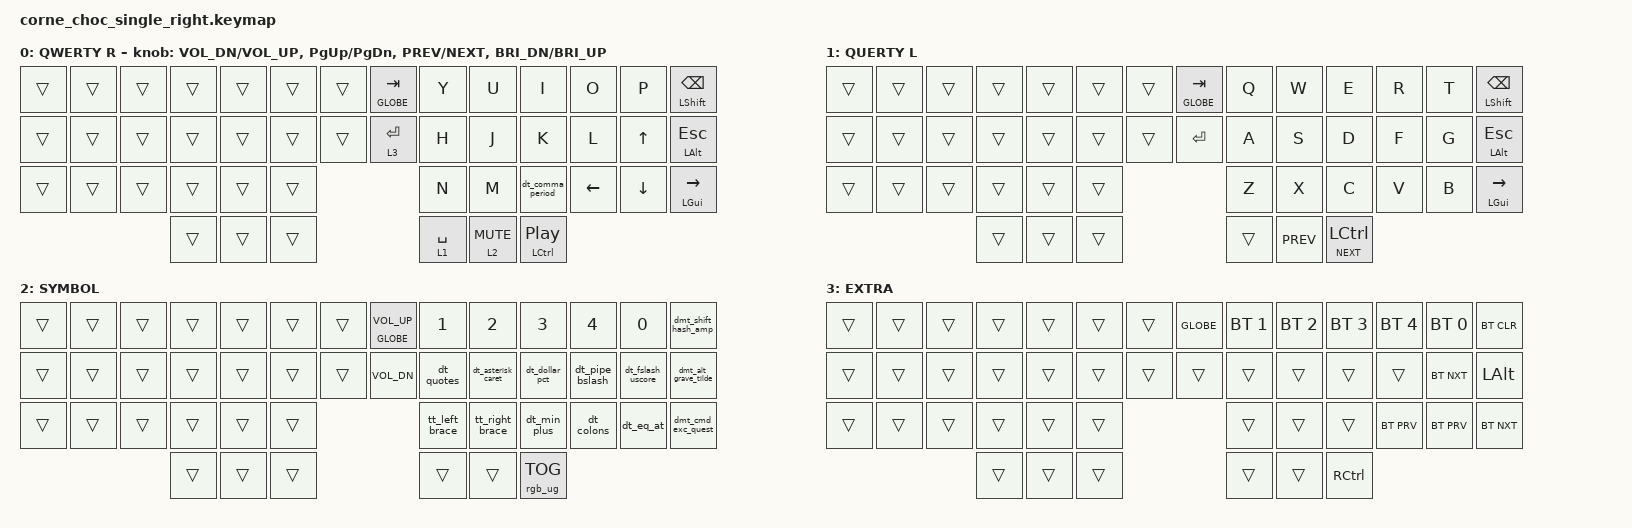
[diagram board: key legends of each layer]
/*
 * Copyright (c) 2020 The ZMK Contributors
 *
 * SPDX-License-Identifier: MIT
 */

#include <behaviors.dtsi>
#include <dt-bindings/zmk/bt.h>
#include <dt-bindings/zmk/keys.h>
#include <dt-bindings/zmk/rgb.h>

&mt { tapping-term-ms = <120>; };

&lt { tapping-term-ms = <120>; };

/ {
    chosen { zmk,physical-layout = &default_layout; };
};

/ {
    behaviors {
        dt_comma_period: dt_comma_period {
            compatible = "zmk,behavior-tap-dance";
            label = "DT_COMMA_PERIOD";
            #binding-cells = <0>;
            bindings = <&kp COMMA>, <&kp PERIOD>;
        };

        dmt_alt_excl_quest: dmt_alt_excl_quest {
            compatible = "zmk,behavior-tap-dance";
            label = "DMT_ALT_EXCL_QUEST";
            #binding-cells = <0>;
            bindings = <&mt LEFT_ALT EXCLAMATION>, <&kp QUESTION>;
        };

        dmt_alt_grave_tilde: dmt_alt_grave_tilde {
            compatible = "zmk,behavior-tap-dance";
            label = "DMT_ALT_GRAVE_TILDE";
            #binding-cells = <0>;
            bindings = <&mt LEFT_ALT GRAVE>, <&kp TILDE>;
        };

        dt_quotes: dt_quotes {
            compatible = "zmk,behavior-tap-dance";
            label = "DT_QUOTES";
            #binding-cells = <0>;
            bindings = <&kp SINGLE_QUOTE>, <&kp DOUBLE_QUOTES>;
        };

        dt_asterisk_caret: dt_asterisk_caret {
            compatible = "zmk,behavior-tap-dance";
            label = "DT_ASTERISK_CARET";
            #binding-cells = <0>;
            bindings = <&kp ASTERISK>, <&kp CARET>;
        };

        dt_lt_gt: dt_lt_gt {
            compatible = "zmk,behavior-tap-dance";
            label = "DT_LT_GT";
            #binding-cells = <0>;
            bindings = <&kp LT>, <&kp GREATER_THAN>;
        };

        dt_pipe_bslash: dt_pipe_bslash {
            compatible = "zmk,behavior-tap-dance";
            label = "DT_PIPE_BSLASH";
            #binding-cells = <0>;
            bindings = <&kp PIPE>, <&kp BACKSLASH>;
        };

        dt_fslash_uscore: dt_fslash_uscore {
            compatible = "zmk,behavior-tap-dance";
            label = "DT_FSLASH_USCORE";
            #binding-cells = <0>;
            bindings = <&kp SLASH>, <&kp UNDERSCORE>;
        };

        dt_min_plus: dt_min_plus {
            compatible = "zmk,behavior-tap-dance";
            label = "DT_MIN_PLUS";
            #binding-cells = <0>;
            bindings = <&kp KP_MINUS>, <&kp KP_PLUS>;
        };

        dt_curly_bracket: dt_curly_bracket {
            compatible = "zmk,behavior-tap-dance";
            label = "DT_CURLY_BRACKET";
            #binding-cells = <0>;
            bindings = <&kp LEFT_BRACE>, <&kp RIGHT_BRACE>;
        };

        dt_square_bracket: dt_square_bracket {
            compatible = "zmk,behavior-tap-dance";
            label = "DT_SQUARE_BRACKET";
            #binding-cells = <0>;
            bindings = <&kp LBKT>, <&kp RIGHT_BRACKET>;
        };

        dt_colons: dt_colons {
            compatible = "zmk,behavior-tap-dance";
            label = "DT_COLONS";
            #binding-cells = <0>;
            bindings = <&kp COLON>, <&kp SEMICOLON>;
        };

        dt_eq_at: dt_eq_at {
            compatible = "zmk,behavior-tap-dance";
            label = "DT_EQ_AT";
            #binding-cells = <0>;
            bindings = <&kp EQUAL>, <&kp AT_SIGN>;
        };

        ht_mt_bt0: ht_mt_bt0 {
            compatible = "zmk,behavior-hold-tap";
            label = "HT_MT_BT0";
            bindings = <&kp>, <&bt_sel_0>;

            #binding-cells = <2>;
            tapping-term-ms = <120>;
        };

        ht_mt_bt1: ht_mt_bt1 {
            compatible = "zmk,behavior-hold-tap";
            label = "HT_MT_BT1";
            bindings = <&kp>, <&bt_sel_1>;

            #binding-cells = <2>;
            tapping-term-ms = <120>;
        };

        dmt_shift_hash_amp: dmt_shift_hash_amp {
            compatible = "zmk,behavior-tap-dance";
            label = "DMT_SHIFT_HASH_AMP";
            #binding-cells = <0>;
            bindings = <&mt LEFT_SHIFT HASH>, <&kp AMPS>;

            tapping-term-ms = <120>;
        };

        dmt_shift_dollar_pct: dmt_shift_dollar_pct {
            compatible = "zmk,behavior-tap-dance";
            label = "DMT_SHIFT_DOLLAR_PCT";
            #binding-cells = <0>;
            bindings = <&mt LEFT_SHIFT DOLLAR>, <&kp PERCENT>;
        };

        dmt_cmd_parentheses: dmt_cmd_parentheses {
            compatible = "zmk,behavior-tap-dance";
            label = "DMT_CMD_PARENTHESES";
            #binding-cells = <0>;
            bindings = <&mt LEFT_GUI LEFT_PARENTHESIS>, <&kp RIGHT_PARENTHESIS>;
        };

        tt_left_brace: tt_left_brace {
            compatible = "zmk,behavior-tap-dance";
            label = "TT_LEFT_BRACE";
            #binding-cells = <0>;
            bindings =
                <&kp LEFT_PARENTHESIS>,
                <&kp LEFT_BRACKET>,
                <&kp LESS_THAN>,
                <&kp LEFT_BRACE>;
        };

        tt_right_brace: tt_right_brace {
            compatible = "zmk,behavior-tap-dance";
            label = "TT_RIGHT_BRACE";
            #binding-cells = <0>;
            bindings =
                <&kp RIGHT_PARENTHESIS>,
                <&kp RIGHT_BRACKET>,
                <&kp GREATER_THAN>,
                <&kp RIGHT_BRACE>;
        };

        new_behavior: new_behavior {
            compatible = "zmk,behavior-tap-dance";
            label = "NEW_BEHAVIOR";
            #binding-cells = <0>;
            bindings =
                <&kp LEFT_PARENTHESIS>,
                <&kp LEFT_BRACKET>,
                <&kp LESS_THAN>,
                <&kp LEFT_BRACE>;
        };

        dt_hash_amp: dt_hash_amp {
            compatible = "zmk,behavior-tap-dance";
            label = "DT_HASH_AMP";
            #binding-cells = <0>;
            bindings = <&kp HASH>, <&kp AMPS>;
        };

        dt_dollar_pct: dt_dollar_pct {
            compatible = "zmk,behavior-tap-dance";
            label = "DT_DOLLAR_PCT";
            #binding-cells = <0>;
            bindings = <&kp DOLLAR>, <&kp PRCNT>;
        };

        dmt_cmd_exc_quest: dmt_cmd_exc_quest {
            compatible = "zmk,behavior-tap-dance";
            label = "DMT_CMD_EXC_QUEST";
            #binding-cells = <0>;
            bindings = <&mt LEFT_GUI EXCL>, <&kp QUESTION>;
        };
    };

    combos {
        compatible = "zmk,combos";

        sum_12 {
            bindings = <&kp NUMBER_3>;
            key-positions = <8 9>;
            layers = <2>;
        };

        sum_13 {
            bindings = <&kp N4>;
            key-positions = <10 8>;
            layers = <2>;
        };

        sum_14 {
            bindings = <&kp N5>;
            key-positions = <11 8>;
            layers = <2>;
        };

        sum_23 {
            bindings = <&kp KP_N5>;
            key-positions = <9 10>;
            layers = <2>;
        };

        sum_24 {
            bindings = <&kp N6>;
            key-positions = <9 11>;
            layers = <2>;
        };

        sum_34 {
            bindings = <&kp N7>;
            key-positions = <11 10>;
            layers = <2>;
        };

        sum_123 {
            bindings = <&kp N6>;
            key-positions = <8 9 10>;
            layers = <2>;
        };

        sum_124 {
            bindings = <&kp N7>;
            key-positions = <10 8 11>;
            layers = <2>;
        };

        sum_234 {
            bindings = <&kp N9>;
            key-positions = <10 11 9>;
            layers = <2>;
        };

        sum_1234 {
            bindings = <&kp N0>;
            key-positions = <10 11 9 8>;
            layers = <2>;
        };
    };

    macros {
        bt_sel_0: bt_sel_0 {
            compatible = "zmk,behavior-macro";
            #binding-cells = <0>;
            bindings = <&bt BT_SEL 0>;
            label = "BT_SEL_0";
        };

        bt_sel_1: bt_sel_1 {
            compatible = "zmk,behavior-macro";
            #binding-cells = <0>;
            bindings = <&bt BT_SEL 1>;
            label = "BT_SEL_1";
        };

        copy: copy {
            compatible = "zmk,behavior-macro";
            #binding-cells = <0>;
            bindings = <&kp LEFT_CONTROL &kp C>;
            label = "COPY";
        };

        paste: paste {
            compatible = "zmk,behavior-macro";
            #binding-cells = <0>;
            bindings = <&kp LEFT_CONTROL &kp V>;
            label = "PASTE";
        };

        cut: cut {
            compatible = "zmk,behavior-macro";
            #binding-cells = <0>;
            bindings = <&kp LEFT_CONTROL &kp X>;
            label = "CUT";
        };
    };

    keymap {
        compatible = "zmk,keymap";

        default_layer {
            display-name = "QWERTY R";
            bindings = <
&trans  &trans  &trans  &trans  &trans  &trans  &trans  &mt GLOBE TAB  &kp Y        &kp U         &kp I             &kp O     &kp P         &mt LEFT_SHIFT BACKSPACE
&trans  &trans  &trans  &trans  &trans  &trans  &trans  &lt 3 ENTER    &kp H        &kp J         &kp K             &kp L     &kp UP_ARROW  &mt LEFT_ALT ESCAPE
&trans  &trans  &trans  &trans  &trans  &trans                         &kp N        &kp M         &dt_comma_period  &kp LEFT  &kp DOWN      &mt LEFT_GUI RIGHT
                        &trans  &trans  &trans                         &lt 1 SPACE  &lt 2 C_MUTE  &mt LCTRL C_PP
            >;

            sensor-bindings = <&inc_dec_kp C_VOL_DN C_VOL_UP &inc_dec_kp PG_UP PG_DN &inc_dec_kp C_PREV C_NEXT &inc_dec_kp C_BRI_DN C_BRI_UP>;
        };

        lower_layer {
            display-name = "QUERTY L";
            bindings = <
&trans  &trans  &trans  &trans  &trans  &trans  &trans  &mt GLOBE TAB  &kp Q   &kp W       &kp E             &kp R  &kp T  &mt LEFT_SHIFT BACKSPACE
&trans  &trans  &trans  &trans  &trans  &trans  &trans  &kp ENTER      &kp A   &kp S       &kp D             &kp F  &kp G  &mt LEFT_ALT ESCAPE
&trans  &trans  &trans  &trans  &trans  &trans                         &kp Z   &kp X       &kp C             &kp V  &kp B  &mt LEFT_GUI RIGHT
                        &trans  &trans  &trans                         &trans  &kp C_PREV  &mt C_NEXT LCTRL
            >;
        };

        raise_layer {
            display-name = "SYMBOL";
            bindings = <
&trans  &trans  &trans  &trans  &trans  &trans  &trans  &mt GLOBE C_VOL_UP  &kp NUMBER_1    &kp NUMBER_2        &kp NUMBER_3     &kp NUMBER_4     &kp NUMBER_0       &dmt_shift_hash_amp
&trans  &trans  &trans  &trans  &trans  &trans  &trans  &kp C_VOL_DN        &dt_quotes      &dt_asterisk_caret  &dt_dollar_pct   &dt_pipe_bslash  &dt_fslash_uscore  &dmt_alt_grave_tilde
&trans  &trans  &trans  &trans  &trans  &trans                              &tt_left_brace  &tt_right_brace     &dt_min_plus     &dt_colons       &dt_eq_at          &dmt_cmd_exc_quest
                        &trans  &trans  &trans                              &trans          &trans              &rgb_ug RGB_TOG
            >;
        };

        extra_layer_1 {
            display-name = "EXTRA";
            bindings = <
&trans  &trans  &trans  &trans  &trans  &trans  &trans  &kp GLOBE  &bt BT_SEL 1  &bt BT_SEL 2  &bt BT_SEL 3  &bt BT_SEL 4  &bt BT_SEL 0  &bt BT_CLR
&trans  &trans  &trans  &trans  &trans  &trans  &trans  &trans     &trans        &trans        &trans        &trans        &bt BT_NXT    &kp LEFT_ALT
&trans  &trans  &trans  &trans  &trans  &trans                     &trans        &trans        &trans        &bt BT_PRV    &bt BT_PRV    &bt BT_NXT
                        &trans  &trans  &trans                     &trans        &trans        &kp RCTRL
            >;
        };
    };
};
